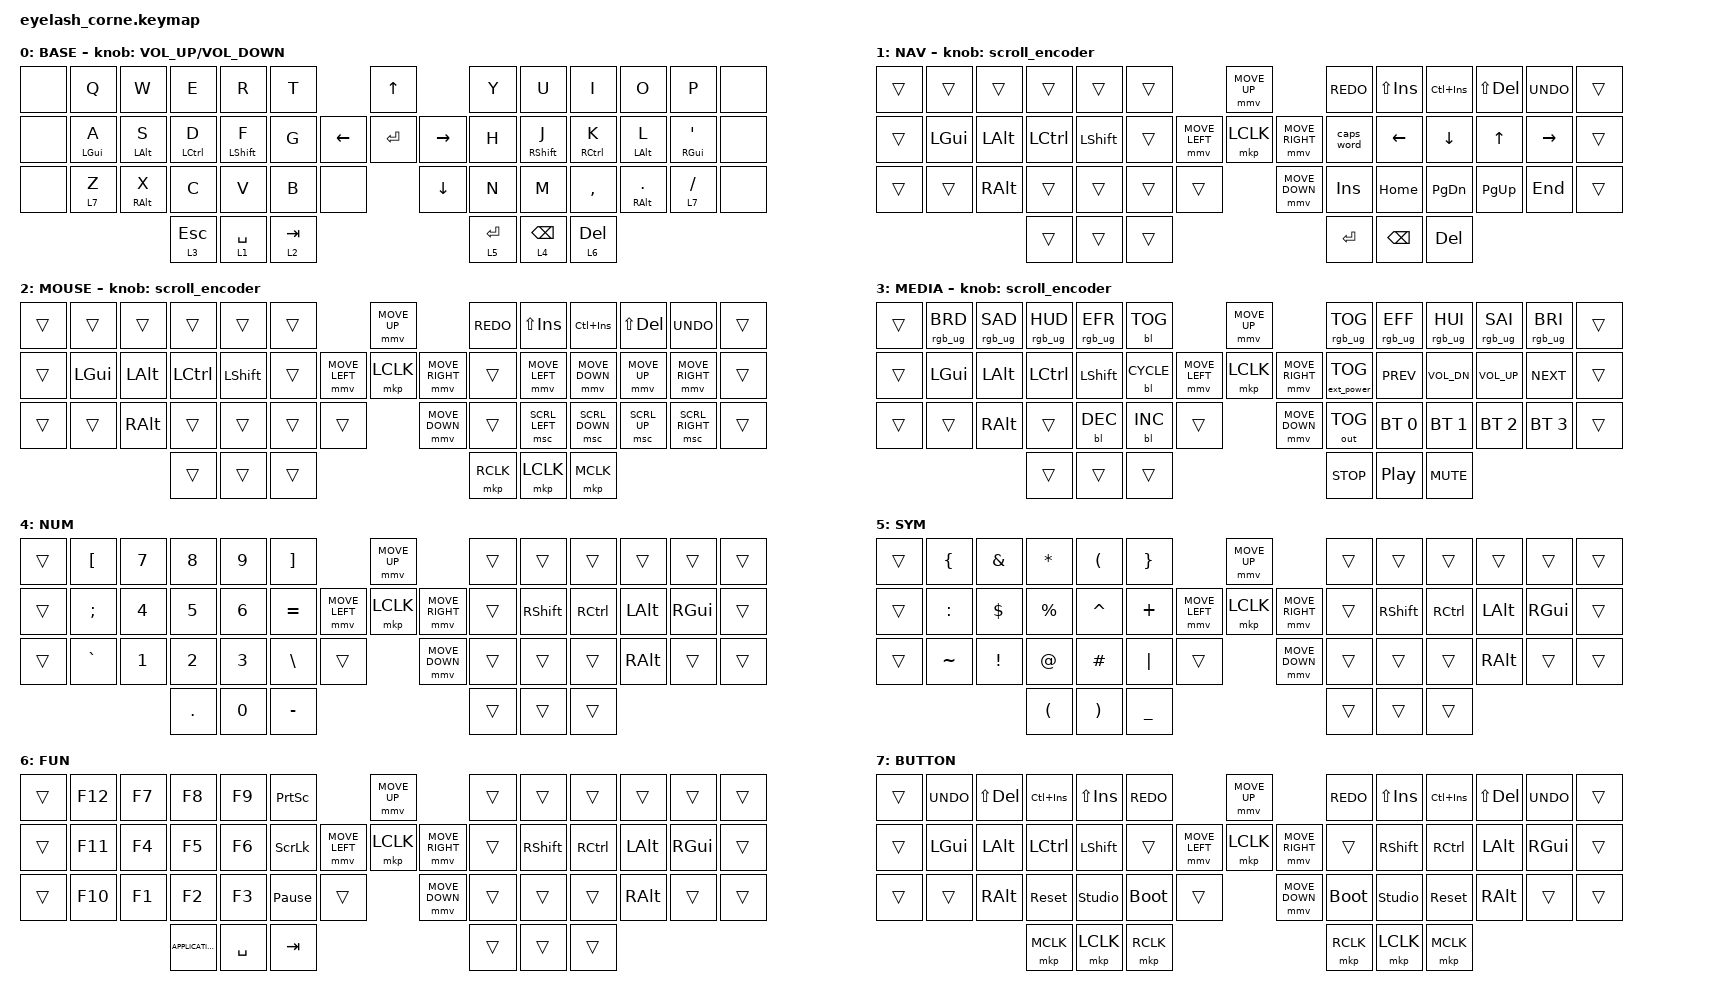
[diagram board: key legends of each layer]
#define ZMK_POINTING_DEFAULT_MOVE_VAL 1200  // 600
#define ZMK_POINTING_DEFAULT_SCRL_VAL 25   // 10

#include <input/processors.dtsi>
#include <zephyr/dt-bindings/input/input-event-codes.h>
#include <behaviors.dtsi>
#include <dt-bindings/zmk/backlight.h>
#include <dt-bindings/zmk/bt.h>
#include <dt-bindings/zmk/ext_power.h>
#include <dt-bindings/zmk/keys.h>
#include <dt-bindings/zmk/outputs.h>
#include <dt-bindings/zmk/pointing.h>
#include <dt-bindings/zmk/rgb.h>

&mmv_input_listener { input-processors = <&zip_xy_scaler 2 1>; };

&msc_input_listener { input-processors = <&zip_scroll_scaler 2 1>; };

&msc {
    acceleration-exponent = <1>;      // 0
    time-to-max-speed-ms = <100>;       // 300
    delay-ms = <0>;                   // 0
};

&mmv {
    time-to-max-speed-ms = <500>;
    acceleration-exponent = <1>;
    trigger-period-ms = <16>;
};

/ {
    behaviors {
        td0: td0 {
            compatible = "zmk,behavior-tap-dance";
            display-name = "Shift/Caps Lock Tap Dance";
            #binding-cells = <0>;
            bindings = <&kp LEFT_SHIFT>, <&kp CAPS>;
        };
    };

    rgb_encoder: rgb_encoder {
        compatible = "zmk,behavior-sensor-rotate";
        #sensor-binding-cells = <0>;
        bindings = <&rgb_ug RGB_BRI>, <&rgb_ug RGB_BRD>;
    };

    scroll_encoder: scroll_encoder {
        compatible = "zmk,behavior-sensor-rotate";
        #sensor-binding-cells = <0>;
        bindings = <&msc SCRL_DOWN>, <&msc SCRL_UP>;

        tap-ms = <100>;
    };

    keymap {
        compatible = "zmk,keymap";

        base {
            display-name = "BASE";
            bindings = <
&none  &kp Q       &kp W       &kp E        &kp R         &kp T                         &kp UP                &kp Y        &kp U            &kp I        &kp O         &kp P                  &none
&none  &mt LGUI A  &mt LALT S  &mt LCTRL D  &mt LSHIFT F  &kp G               &kp LEFT  &kp ENTER  &kp RIGHT  &kp H        &mt RSHIFT J     &mt RCTRL K  &mt LALT L    &mt RGUI SINGLE_QUOTE  &none
&none  &lt 7 Z     &mt RALT X  &kp C        &kp V         &kp B      &none              &kp DOWN              &kp N        &kp M            &kp COMMA    &mt RALT DOT  &lt 7 FSLH             &none
                               &lt 3 ESC    &lt 1 SPACE   &lt 2 TAB                                           &lt 5 ENTER  &lt 4 BACKSPACE  &lt 6 DEL
            >;

            sensor-bindings = <&inc_dec_kp C_VOLUME_UP C_VOLUME_DOWN>;
        };

        lower_layer {
            display-name = "NAV";
            bindings = <
&trans  &trans    &trans    &trans     &trans     &trans                            &mmv MOVE_UP                     &kp K_REDO  &kp LS(INS)    &kp LC(INS)  &kp LS(DEL)  &kp K_UNDO  &trans
&trans  &kp LGUI  &kp LALT  &kp LCTRL  &kp LSHFT  &trans            &mmv MOVE_LEFT  &mkp LCLK       &mmv MOVE_RIGHT  &caps_word  &kp LEFT       &kp DOWN     &kp UP       &kp RIGHT   &trans
&trans  &trans    &kp RALT  &trans     &trans     &trans  &trans                    &mmv MOVE_DOWN                   &kp INS     &kp HOME       &kp PG_DN    &kp PG_UP    &kp END     &trans
                            &trans     &trans     &trans                                                             &kp ENTER   &kp BACKSPACE  &kp DEL
            >;

            sensor-bindings = <&scroll_encoder>;
        };

        raise_layer {
            display-name = "MOUSE";
            bindings = <
&trans  &trans    &trans         &trans     &trans     &trans                            &mmv MOVE_UP                     &kp K_REDO  &kp LS(INS)     &kp LC(INS)     &kp LS(DEL)   &kp K_UNDO       &trans
&trans  &kp LGUI  &kp LALT       &kp LCTRL  &kp LSHFT  &trans            &mmv MOVE_LEFT  &mkp LCLK       &mmv MOVE_RIGHT  &trans      &mmv MOVE_LEFT  &mmv MOVE_DOWN  &mmv MOVE_UP  &mmv MOVE_RIGHT  &trans
&trans  &trans    &kp RIGHT_ALT  &trans     &trans     &trans  &trans                    &mmv MOVE_DOWN                   &trans      &msc SCRL_LEFT  &msc SCRL_DOWN  &msc SCRL_UP  &msc SCRL_RIGHT  &trans
                                 &trans     &trans     &trans                                                             &mkp RCLK   &mkp LCLK       &mkp MCLK
            >;

            sensor-bindings = <&scroll_encoder>;
        };

        MEDIA {
            display-name = "MEDIA";
            bindings = <
&trans  &rgb_ug RGB_BRD  &rgb_ug RGB_SAD  &rgb_ug RGB_HUD  &rgb_ug RGB_EFR  &bl BL_TOG                              &mmv MOVE_UP                     &rgb_ug RGB_TOG    &rgb_ug RGB_EFF   &rgb_ug RGB_HUI  &rgb_ug RGB_SAI  &rgb_ug RGB_BRI  &trans
&trans  &kp LGUI         &kp LALT         &kp LCTRL        &kp LSHIFT       &bl BL_CYCLE            &mmv MOVE_LEFT  &mkp LCLK       &mmv MOVE_RIGHT  &ext_power EP_TOG  &kp C_PREV        &kp C_VOL_DN     &kp C_VOL_UP     &kp C_NEXT       &trans
&trans  &trans           &kp RALT         &trans           &bl BL_DEC       &bl BL_INC    &trans                    &mmv MOVE_DOWN                   &out OUT_TOG       &bt BT_SEL 0      &bt BT_SEL 1     &bt BT_SEL 2     &bt BT_SEL 3     &trans
                                          &trans           &trans           &trans                                                                   &kp C_STOP         &kp C_PLAY_PAUSE  &kp C_MUTE
            >;

            sensor-bindings = <&scroll_encoder>;
        };

        NUM {
            bindings = <
&trans  &kp LEFT_BRACKET  &kp NUMBER_7  &kp NUMBER_8  &kp NUMBER_9  &kp RIGHT_BRACKET                            &mmv MOVE_UP                     &trans  &trans     &trans     &trans    &trans    &trans
&trans  &kp SEMI          &kp NUMBER_4  &kp NUMBER_5  &kp NUMBER_6  &kp EQUAL                    &mmv MOVE_LEFT  &mkp LCLK       &mmv MOVE_RIGHT  &trans  &kp RSHFT  &kp RCTRL  &kp LALT  &kp RGUI  &trans
&trans  &kp GRAVE         &kp NUMBER_1  &kp NUMBER_2  &kp NUMBER_3  &kp BACKSLASH      &trans                    &mmv MOVE_DOWN                   &trans  &trans     &trans     &kp RALT  &trans    &trans
                                        &kp DOT       &kp NUMBER_0  &kp MINUS                                                                     &trans  &trans     &trans
            >;

            label = "NUM";
        };

        SYM {
            bindings = <
&trans  &kp LEFT_BRACE  &kp AMPERSAND  &kp ASTERISK          &kp LEFT_PARENTHESIS   &kp RIGHT_BRACE                            &mmv MOVE_UP                     &trans  &trans     &trans     &trans    &trans    &trans
&trans  &kp COLON       &kp DOLLAR     &kp PERCENT           &kp CARET              &kp PLUS                   &mmv MOVE_LEFT  &mkp LCLK       &mmv MOVE_RIGHT  &trans  &kp RSHFT  &kp RCTRL  &kp LALT  &kp RGUI  &trans
&trans  &kp TILDE       &kp EXCL       &kp AT                &kp HASH               &kp PIPE         &trans                    &mmv MOVE_DOWN                   &trans  &trans     &trans     &kp RALT  &trans    &trans
                                       &kp LEFT_PARENTHESIS  &kp RIGHT_PARENTHESIS  &kp UNDER                                                                   &trans  &trans     &trans
            >;

            label = "SYM";
        };

        FUN {
            bindings = <
&trans  &kp F12  &kp F7  &kp F8             &kp F9     &kp PRINTSCREEN                            &mmv MOVE_UP                     &trans  &trans     &trans     &trans    &trans    &trans
&trans  &kp F11  &kp F4  &kp F5             &kp F6     &kp SCROLLLOCK             &mmv MOVE_LEFT  &mkp LCLK       &mmv MOVE_RIGHT  &trans  &kp RSHFT  &kp RCTRL  &kp LALT  &kp RGUI  &trans
&trans  &kp F10  &kp F1  &kp F2             &kp F3     &kp PAUSE_BREAK  &trans                    &mmv MOVE_DOWN                   &trans  &trans     &trans     &kp RALT  &trans    &trans
                         &kp K_APPLICATION  &kp SPACE  &kp TAB                                                                     &trans  &trans     &trans
            >;

            label = "FUN";
        };

        BUTTON {
            bindings = <
&trans  &kp K_UNDO  &kp LS(DEL)  &kp LC(INS)  &kp LS(INS)     &kp K_REDO                             &mmv MOVE_UP                     &kp K_REDO   &kp LS(INS)     &kp LC(INS)  &kp LS(DEL)  &kp K_UNDO  &trans
&trans  &kp LGUI    &kp LALT     &kp LCTRL    &kp LSHFT       &trans                 &mmv MOVE_LEFT  &mkp LCLK       &mmv MOVE_RIGHT  &trans       &kp RSHFT       &kp RCTRL    &kp LALT     &kp RGUI    &trans
&trans  &trans      &kp RALT     &sys_reset   &studio_unlock  &bootloader  &trans                    &mmv MOVE_DOWN                   &bootloader  &studio_unlock  &sys_reset   &kp RALT     &trans      &trans
                                 &mkp MCLK    &mkp LCLK       &mkp RCLK                                                               &mkp RCLK    &mkp LCLK       &mkp MCLK
            >;

            label = "BUTTON";
        };
    };
};
